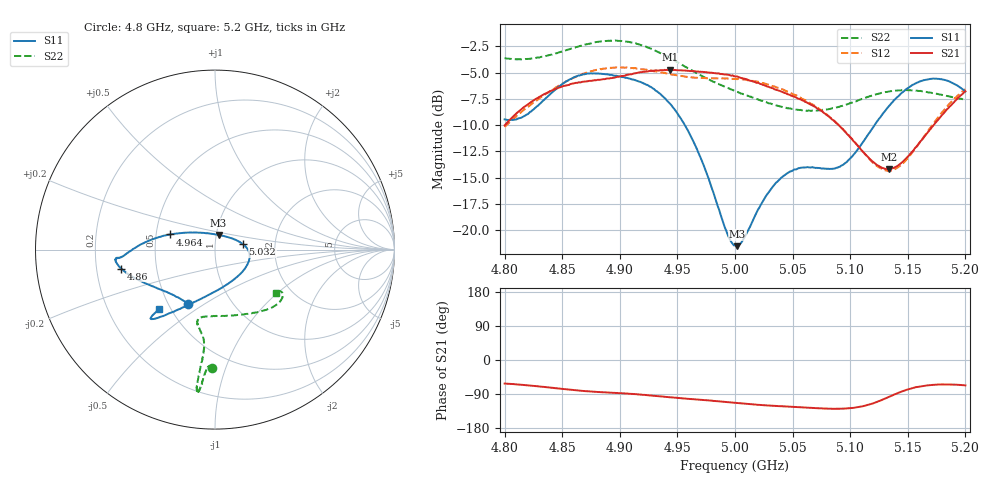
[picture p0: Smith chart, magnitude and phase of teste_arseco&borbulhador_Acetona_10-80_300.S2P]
! Network Analyzer HP8722D
! Hewlett-Packard
! Data name: Linha & Wilkinson
! Saver's name: Rodrigo Anjos
! Comments: Teste da utilização de aquisição
! continua pelo VNA HP8722D
! Time and date: 17/4/2025 16:51
!  Frequency  S11  S21  S12  S22
# HZ  S  MA R 50
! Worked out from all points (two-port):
!   401 points, 4.8 GHz to 5.2 GHz, reference 50 ohm
!   highest |S21| = -4.74 dB at 4.944 GHz (marker M1); lowest = -14.2 dB at 5.134 GHz (marker M2)
!   |S21| within 3 dB of the highest: 4.824 GHz to 5.06 GHz (236.3 MHz wide, 4.78 % of centre); 5.190782 GHz to end of sweep
!   lowest |S11| = -21.5 dB at 5.002 GHz (marker M3), VSWR 1.18, Z = 51.3 + j8.41 ohm
!   |S11| at or under -10 dB: 4.956 GHz to 5.121 GHz (164.9 MHz wide, 3.27 % of centre)
!   |S22| runs from -8.7 to -1.9 dB; largest |S21 - S12| = 0.87
!   S11 on the Smith chart (normalised r, x): 4.8 GHz: 0.63, -0.42; 4.86 GHz: 0.31, -0.09; 4.964 GHz: 0.59, +0.11; 5.032 GHz: 1.37, +0.09; 5.2 GHz: 0.43, -0.36
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4.8e9  0.3365 -116.8  0.3152 -62.2  0.3095 -176.5  0.6582 -91.4
4.819e9  0.3544 -137.1  0.3923 -66.5  0.3812 -176.2  0.653 -93.1
4.86e9  0.5337 -168.6  0.4992 -79.2  0.5307 -179.6  0.7375 -95.4
4.867e9  0.5482 -171.2  0.5073 -81.5  0.5512 179.2  0.7568 -95.7
4.898e9  0.5414 -175.1  0.5365 -86.9  0.5934 173.4  0.7976 -96.9
4.934e9  0.4499 179.2  0.5746 -95.6  0.5647 169.9  0.701 -97.3
4.944e9  0.3973 174.6  0.5797 -98.4  0.5523 170.2  0.6579 -97.0
4.964e9  0.2634 161.3  0.5703 -103.6  0.5326 171.9  0.5695 -96.3
4.975e9  0.1887 150.0  0.5642 -106.3  0.5287 172.9  0.5291 -96.8
4.993e9  0.09724 111.5  0.5495 -111.0  0.5275 174.2  0.4768 -98.7
5e9  0.0845 84.5  0.5395 -113.2  0.5247 174.2  0.4594 -100.1
5.002e9  0.08372 76.3  0.5384 -113.6  0.5232 174.1  0.4553 -100.6
5.032e9  0.1585 11.2  0.4745 -120.6  0.4866 173.0  0.3981 -103.5
5.049e9  0.1905 -5.0  0.4354 -123.4  0.4476 172.3  0.3774 -98.7
5.067e9  0.1992 -24.3  0.3927 -126.5  0.3977 172.1  0.3705 -88.3
5.095e9  0.2068 -72.8  0.2959 -128.2  0.2971 174.6  0.3937 -66.6
5.121e9  0.3145 -111.7  0.2086 -113.3  0.2066 -168.3  0.4411 -49.6
5.134e9  0.3909 -121.5  0.1954 -96.8  0.1914 -149.8  0.4573 -43.3
5.148e9  0.466 -127.8  0.2178 -79.8  0.2138 -129.8  0.4641 -38.1
5.168e9  0.5231 -132.2  0.2947 -66.8  0.2986 -113.1  0.4518 -33.4
5.184e9  0.5149 -133.4  0.3759 -64.5  0.3875 -108.9  0.4351 -32.4
5.2e9  0.4567 -133.3  0.4578 -66.9  0.4685 -109.1  0.4168 -35.1
